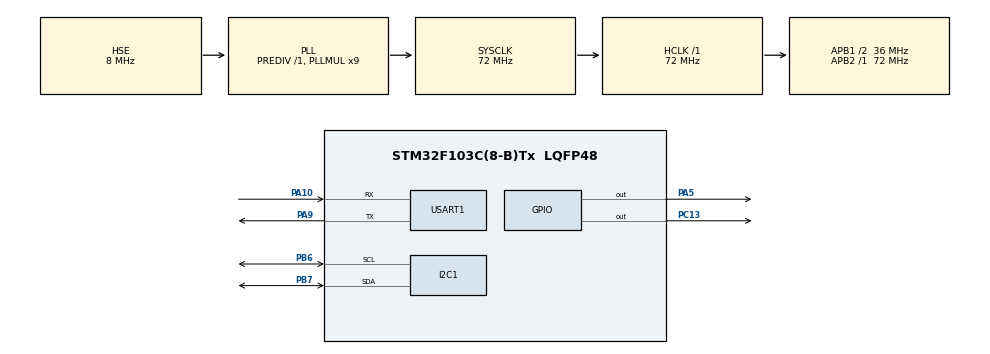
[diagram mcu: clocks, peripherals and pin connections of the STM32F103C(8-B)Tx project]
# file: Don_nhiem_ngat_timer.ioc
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Mcu.Family=STM32F1
Mcu.Name=STM32F103C(8-B)Tx
Mcu.Package=LQFP48
NVIC.PriorityGroup=NVIC_PRIORITYGROUP_4
NVIC.TIM1_UP_IRQn=true\:0\:0\:false\:false\:true\:true\:true\:true
NVIC.TIM3_IRQn=true\:0\:0\:false\:false\:true\:true\:true\:true
NVIC.TIM4_IRQn=true\:0\:0\:false\:false\:true\:true\:true\:true
NVIC.USART1_IRQn=true\:0\:0\:false\:false\:true\:true\:true\:true
PA10.Mode=Asynchronous
PA10.Signal=USART1_RX
PA13.Mode=Serial_Wire
PA13.Signal=SYS_JTMS-SWDIO
PA14.Mode=Serial_Wire
PA14.Signal=SYS_JTCK-SWCLK
PA5.Signal=GPIO_Output
PA9.Mode=Asynchronous
PA9.Signal=USART1_TX
PB6.Mode=I2C
PB6.Signal=I2C1_SCL
PB7.Mode=I2C
PB7.Signal=I2C1_SDA
PC13-TAMPER-RTC.Signal=GPIO_Output
PD0-OSC_IN.Mode=HSE-External-Oscillator
PD0-OSC_IN.Signal=RCC_OSC_IN
PD1-OSC_OUT.Mode=HSE-External-Oscillator
PD1-OSC_OUT.Signal=RCC_OSC_OUT
ProjectManager.HeapSize=0x200
ProjectManager.StackSize=0x400
ProjectManager.TargetToolchain=STM32CubeIDE
RCC.AHBFreq_Value=72000000
RCC.APB1CLKDivider=RCC_HCLK_DIV2
RCC.APB1Freq_Value=36000000
RCC.APB1TimFreq_Value=72000000
RCC.APB2Freq_Value=72000000
RCC.APB2TimFreq_Value=72000000
RCC.HCLKFreq_Value=72000000
RCC.PLLMUL=RCC_PLL_MUL9
RCC.PLLSourceVirtual=RCC_PLLSOURCE_HSE
RCC.SYSCLKFreq_VALUE=72000000
RCC.SYSCLKSource=RCC_SYSCLKSOURCE_PLLCLK
RCC.USBFreq_Value=72000000
TIM1.Period=29999
TIM1.Prescaler=7199
TIM2.Prescaler=71
TIM3.Period=9999
TIM3.Prescaler=7199
TIM4.Period=19999
TIM4.Prescaler=7199
USART1.VirtualMode=VM_ASYNC
VP_TIM1_VS_ClockSourceINT.Mode=Internal
VP_TIM2_VS_ClockSourceINT.Mode=Internal
VP_TIM3_VS_ClockSourceINT.Mode=Internal
VP_TIM4_VS_ClockSourceINT.Mode=Internal
board=custom

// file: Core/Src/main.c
/* USER CODE BEGIN Header */
/**
  ******************************************************************************
  * @file           : main.c
  * @brief          : Main program body
  ******************************************************************************
  * @attention
  *
  * Copyright (c) 2026 STMicroelectronics.
  * All rights reserved.
  *
  * This software is licensed under terms that can be found in the LICENSE file
  * in the root directory of this software component.
  * If no LICENSE file comes with this software, it is provided AS-IS.
  *
  ******************************************************************************
  */
/* USER CODE END Header */
#include "main.h"

/* USER CODE BEGIN Includes */
#include "dht11.h"
#include "i2c_LCD.h"
#include "time_delay.h"
#include <stdio.h>
#include <string.h>
/* USER CODE END Includes */

/* USER CODE BEGIN PTD */
typedef struct {
  // sensor
  uint8_t temp_c;
  uint8_t hum_pct;
  uint8_t valid; // valid=1 DHT11 đo OK, còn valid=0 DHT11 hư

  // config (có thể đổi qua UART)
  uint32_t period_ms;     // chu kì đo + gửi + update LCD
  uint8_t  th_temp;       // ngưỡng nhiệt độ
  uint8_t  th_hum;        // ngưỡng độ ẩm

  // status
  uint8_t alarm;          // 1: Cbao, 0: Bth

  // UART RX line (nhận theo dòng)
  uint8_t  rx_byte;
  char     rx_line[64];
  uint8_t  rx_len;
  volatile uint8_t line_ready; // 1: có 1 dòng lệnh hoàn chỉnh

} AppCtx;

typedef enum {
  EVENT_NONE = 0,
  EVENT_TASK_TEMP,  // Sự kiện đọc DHT11
  EVENT_TASK_LCD,   // Sự kiện cập nhật LCD
  EVENT_TASK_UART,  // Sự kiện gửi báo cáo UART
  EVENT_TASK_CMD    // Sự kiện xử lý lệnh từ UART RX
} EventID_t;

#define QUEUE_SIZE 15
EventID_t event_queue[QUEUE_SIZE];
int8_t head = 0, tail = 0, event_count = 0;

// Hàm đẩy sự kiện vào hàng đợi
void push_event(EventID_t id) {
  if (event_count < QUEUE_SIZE) {
    event_queue[tail] = id;
    tail = (tail + 1) % QUEUE_SIZE;
    event_count++;
  }
}

// Hàm lấy sự kiện ra khỏi hàng đợi
EventID_t pop_event(void) {
  if (event_count == 0) return EVENT_NONE;
  EventID_t id = event_queue[head];
  head = (head + 1) % QUEUE_SIZE;
  event_count--;
  return id;
}
/* USER CODE END PTD */

/* USER CODE BEGIN PD */
#define LED_PORT GPIOC
#define LED_PIN  GPIO_PIN_13
#define LED_ON()   HAL_GPIO_WritePin(LED_PORT, LED_PIN, GPIO_PIN_RESET)
#define LED_OFF()  HAL_GPIO_WritePin(LED_PORT, LED_PIN, GPIO_PIN_SET)
/* USER CODE END PD */

I2C_HandleTypeDef hi2c1;

TIM_HandleTypeDef htim1;
TIM_HandleTypeDef htim2;
TIM_HandleTypeDef htim3;
TIM_HandleTypeDef htim4;

UART_HandleTypeDef huart1;

/* USER CODE BEGIN PV */
LCD1602_I2C_t lcd;

DHT11_HandleTypeDef hdht11;
static AppCtx app;
/* USER CODE END PV */

void SystemClock_Config(void);
static void MX_GPIO_Init(void);
static void MX_I2C1_Init(void);
static void MX_TIM1_Init(void);
static void MX_TIM2_Init(void);
static void MX_TIM3_Init(void);
static void MX_TIM4_Init(void);
static void MX_USART1_UART_Init(void);

/* USER CODE BEGIN 0 */
//TASK1: đo DHT11 và lưu dữ liệu vào ctx
static void TASK_DHT11_Measure(AppCtx *ctx, DHT11_HandleTypeDef *dht)
{
  DHT11_Data_t raw;
  int err = DHT11_Read(dht, &raw);

  if (err == 0) {
    ctx->temp_c = raw.temperature_int;
    ctx->hum_pct = raw.humidity_int;
    ctx->valid = 1;
  } else {
    ctx->valid = 0;
  }
}

// Task2 kiểm tra ngưỡng + nháy LED 1 lần sau khi kiểm tra
static void TASK_CheckThreshold_BlinkOnce(AppCtx *ctx)
{
  // nếu lỗi cảm biến thì coi như cảnh báo
  if (!ctx->valid) {
    ctx->alarm = 1;
  } else {
	  // nháy 1 lần (non-blocking kiểu ngắn dùng HAL_Delay OK vì chỉ 1 nháy)
    ctx->alarm = (ctx->temp_c >= ctx->th_temp) || (ctx->hum_pct >= ctx->th_hum);
  }
  if(ctx->alarm){
	  LED_ON();
  } else {
	  LED_OFF();
  }

  // nháy 1 lần (non-blocking kiểu ngắn dùng HAL_Delay OK vì chỉ 1 nháy)
  //LED_ON();
  //HAL_Delay(100);
  //LED_OFF();
}

// Task3 LCD: dòng 1 = T/H, dòng 2 = chu kì + TT(Bth/Cbao)
static void TASK_LCD_Update(AppCtx *ctx, LCD1602_I2C_t *lcd)
{
  char l1[17], l2[17];

  if (ctx->valid) {
    snprintf(l1, sizeof(l1), "Tem:%2uC Hum:%2u%%", ctx->temp_c, ctx->hum_pct);
  } else {
    snprintf(l1, sizeof(l1), "Tem:--C Hum:--%%");
  }

  // hiển thị chu kì dạng giây hoặc ms cho gọn
  // ví dụ: "Cyc=2000 TT=Bth"
  snprintf(l2, sizeof(l2), "Trangthai: %s",
           ctx->alarm ? "Cbao" : "Bth");

  LCD1602_SetCursor(lcd, 0, 0);
  LCD1602_Print(lcd, l1);

  LCD1602_SetCursor(lcd, 1, 0);
  LCD1602_Print(lcd, "                ");

  LCD1602_SetCursor(lcd, 1, 0);
  LCD1602_Print(lcd, l2);
}

// Task4 UART TX: gửi nhiệt độ, ẩm, chu kì, ngưỡng, TT
static void TASK_UART_SendStatus(AppCtx *ctx, UART_HandleTypeDef *huart)
{
  char tx[128];
  int n;
 //Lấy thời điểm hiện tại để kiểm tra độ chính xác của lập lịch
  uint32_t current_time = HAL_GetTick();

  if (ctx->valid) {
    n = snprintf(tx, sizeof(tx),
      "[%lu ms] T=%u H=%u Tth=%u Hth=%u Status=%s\r\n",
	  current_time,
      ctx->temp_c, ctx->hum_pct,
      ctx->th_temp, ctx->th_hum,
      ctx->alarm ? "Cbao" : "Bth"
    );
  } else {
    n = snprintf(tx, sizeof(tx),
      "[%lu ms] DHT11_ERROR Tth=%u Hth=%u Status=%s\r\n",
	  current_time,
      ctx->th_temp, ctx->th_hum,
      ctx->alarm ? "Cbao" : "Bth"
    );
  }

  HAL_UART_Transmit(huart, (uint8_t*)tx, (uint16_t)n, 100);
}

// Task5 UART RX: parse line để cập nhật chu kì và ngưỡng
// Nhận các token: P=..., T=..., H=...
static void TASK_UART_ParseLine(AppCtx *ctx, UART_HandleTypeDef *huart)
{
  if (!ctx->line_ready) return;
  ctx->line_ready = 0;

  // copy ra buffer tạm để strtok
  char buf[64];
  strncpy(buf, ctx->rx_line, sizeof(buf));
  buf[sizeof(buf)-1] = 0;

  // tách theo space hoặc comma
  char *tok = strtok(buf, " ,");
  uint8_t updated = 0;

  while (tok) {
    if (tok[0] == 'P' || tok[0] == 'p') {
      uint32_t p = 0;
      if (sscanf(tok, "P=%lu", &p) == 1 || sscanf(tok, "p=%lu", &p) == 1 ) {
    	  __HAL_TIM_SET_AUTORELOAD(&htim1, p - 1);
    	          // Reset counter để áp dụng ngay lập tức
    	          __HAL_TIM_SET_COUNTER(&htim1, 0);
        updated = 1;
      }
    } else if (tok[0] == 'T' || tok[0] == 't') {
      unsigned t = 0;
      if (sscanf(tok, "T=%u", &t) == 1 || sscanf(tok, "t=%u", &t) == 1 ) {
        if (t <= 99) { ctx->th_temp = (uint8_t)t; updated = 1; }
      }
    } else if (tok[0] == 'H' || tok[0] == 'h') {
      unsigned h = 0;
      if (sscanf(tok, "H=%u", &h) == 1 || sscanf(tok, "h=%u", &h) == 1 ) {
        if (h <= 99) { ctx->th_hum = (uint8_t)h; updated = 1; }
      }
    }

    tok = strtok(NULL, " ,");
  }

  // phản hồi lại cấu hình hiện tại
  if (updated) {
    char ack[80];
    int n = snprintf(ack, sizeof(ack), "OK P=%lu Tth=%u Hth=%u\r\n",
                     (unsigned long)ctx->period_ms, ctx->th_temp, ctx->th_hum);
    HAL_UART_Transmit(huart, (uint8_t*)ack, (uint16_t)n, 100);
  } else {
    const char *msg = "FORMAT: P=2000 T=20 H=50\r\n";
    HAL_UART_Transmit(huart, (uint8_t*)msg, (uint16_t)strlen(msg), 100);
  }
}
/* USER CODE END 0 */

int main(void)
{

  /* MCU Configuration--------------------------------------------------------*/

  /* Reset of all peripherals, Initializes the Flash interface and the Systick. */
  HAL_Init();

  /* Configure the system clock */
  SystemClock_Config();

  /* Initialize all configured peripherals */
  MX_GPIO_Init();
  MX_I2C1_Init();
  MX_TIM1_Init();
  MX_TIM2_Init();
  MX_TIM3_Init();
  MX_TIM4_Init();
  MX_USART1_UART_Init();
  /* USER CODE BEGIN 2 */
  HAL_TIM_Base_Start(&htim2);
    TIM2_Delay_Init(&htim2);   // nếu time_delay của bạn dùng TIM2 thì cứ giữ
  // init dht11

    // Khởi chạy ngắt cho các timer tạo sự kiện định kỳ
      HAL_TIM_Base_Start_IT(&htim1); // Cho UART TX
      HAL_TIM_Base_Start_IT(&htim3); // Cho DHT11
      HAL_TIM_Base_Start_IT(&htim4); // Cho LCD

    hdht11.GPIOx = GPIOA;
    hdht11.GPIO_Pin = GPIO_PIN_5;
    hdht11.htim = &htim2;
    DHT11_Init(&hdht11);

    // LCD address: 0x27 hoặc 0x3F
    LCD1602_Init(&lcd, &hi2c1, 0x27);
    LCD1602_Clear(&lcd);
    LCD1602_SetCursor(&lcd, 0, 0);
    LCD1602_Print(&lcd, "DHT11 + LCD");
    HAL_Delay(1000);
    LCD1602_Clear(&lcd);

    // app default
    memset(&app, 0, sizeof(app));
    app.period_ms = 4000;  // chu kì mặc định
    app.th_temp   = 29;    // ngưỡng mặc định
    app.th_hum    = 70;    // ngưỡng mặc định
    app.alarm     = 0;
    LED_OFF();

    // start UART RX interrupt (1 byte)
    HAL_UART_Receive_IT(&huart1, &app.rx_byte, 1);
  /* USER CODE END 2 */

  /* Infinite loop */
  /* USER CODE BEGIN WHILE */
  while (1)
  {
	  EventID_t active_event = pop_event(); // Kiểm tra hàng đợi

	      if (active_event != EVENT_NONE) {
	        // Thực thi nhiệm vụ không ưu tiên (Non-preemptive)
	        switch (active_event) {
	          case EVENT_TASK_TEMP:
	            TASK_DHT11_Measure(&app, &hdht11);
	            TASK_CheckThreshold_BlinkOnce(&app);
	            break;
	          case EVENT_TASK_LCD:
	            TASK_LCD_Update(&app, &lcd);
	            break;
	          case EVENT_TASK_UART:
	            TASK_UART_SendStatus(&app, &huart1);
	            break;
	          case EVENT_TASK_CMD:
	            app.line_ready = 1; // Đánh dấu để hàm parse nhận diện
	            TASK_UART_ParseLine(&app, &huart1);
	            break;
	          default: break;
	        }
	      } else {
	        __NOP();
	      }
    /* USER CODE END WHILE */

  }
}

void SystemClock_Config(void)
{
  RCC_OscInitTypeDef RCC_OscInitStruct = {0};
  RCC_ClkInitTypeDef RCC_ClkInitStruct = {0};

  /** Initializes the RCC Oscillators according to the specified parameters
  * in the RCC_OscInitTypeDef structure.
  */
  RCC_OscInitStruct.OscillatorType = RCC_OSCILLATORTYPE_HSE;
  RCC_OscInitStruct.HSEState = RCC_HSE_ON;
  RCC_OscInitStruct.HSEPredivValue = RCC_HSE_PREDIV_DIV1;
  RCC_OscInitStruct.HSIState = RCC_HSI_ON;
  RCC_OscInitStruct.PLL.PLLState = RCC_PLL_ON;
  RCC_OscInitStruct.PLL.PLLSource = RCC_PLLSOURCE_HSE;
  RCC_OscInitStruct.PLL.PLLMUL = RCC_PLL_MUL9;
  if (HAL_RCC_OscConfig(&RCC_OscInitStruct) != HAL_OK)
  {
    Error_Handler();
  }

  /** Initializes the CPU, AHB and APB buses clocks
  */
  RCC_ClkInitStruct.ClockType = RCC_CLOCKTYPE_HCLK|RCC_CLOCKTYPE_SYSCLK
                              |RCC_CLOCKTYPE_PCLK1|RCC_CLOCKTYPE_PCLK2;
  RCC_ClkInitStruct.SYSCLKSource = RCC_SYSCLKSOURCE_PLLCLK;
  RCC_ClkInitStruct.AHBCLKDivider = RCC_SYSCLK_DIV1;
  RCC_ClkInitStruct.APB1CLKDivider = RCC_HCLK_DIV2;
  RCC_ClkInitStruct.APB2CLKDivider = RCC_HCLK_DIV1;

  if (HAL_RCC_ClockConfig(&RCC_ClkInitStruct, FLASH_LATENCY_2) != HAL_OK)
  {
    Error_Handler();
  }
}

static void MX_I2C1_Init(void)
{

  hi2c1.Instance = I2C1;
  hi2c1.Init.ClockSpeed = 100000;
  hi2c1.Init.DutyCycle = I2C_DUTYCYCLE_2;
  hi2c1.Init.OwnAddress1 = 0;
  hi2c1.Init.AddressingMode = I2C_ADDRESSINGMODE_7BIT;
  hi2c1.Init.DualAddressMode = I2C_DUALADDRESS_DISABLE;
  hi2c1.Init.OwnAddress2 = 0;
  hi2c1.Init.GeneralCallMode = I2C_GENERALCALL_DISABLE;
  hi2c1.Init.NoStretchMode = I2C_NOSTRETCH_DISABLE;
  if (HAL_I2C_Init(&hi2c1) != HAL_OK)
  {
    Error_Handler();
  }

}

static void MX_TIM1_Init(void)
{

  TIM_ClockConfigTypeDef sClockSourceConfig = {0};
  TIM_MasterConfigTypeDef sMasterConfig = {0};

  htim1.Instance = TIM1;
  htim1.Init.Prescaler = 7199;
  htim1.Init.CounterMode = TIM_COUNTERMODE_UP;
  htim1.Init.Period = 29999;
  htim1.Init.ClockDivision = TIM_CLOCKDIVISION_DIV1;
  htim1.Init.RepetitionCounter = 0;
  htim1.Init.AutoReloadPreload = TIM_AUTORELOAD_PRELOAD_DISABLE;
  if (HAL_TIM_Base_Init(&htim1) != HAL_OK)
  {
    Error_Handler();
  }
  sClockSourceConfig.ClockSource = TIM_CLOCKSOURCE_INTERNAL;
  if (HAL_TIM_ConfigClockSource(&htim1, &sClockSourceConfig) != HAL_OK)
  {
    Error_Handler();
  }
  sMasterConfig.MasterOutputTrigger = TIM_TRGO_RESET;
  sMasterConfig.MasterSlaveMode = TIM_MASTERSLAVEMODE_DISABLE;
  if (HAL_TIMEx_MasterConfigSynchronization(&htim1, &sMasterConfig) != HAL_OK)
  {
    Error_Handler();
  }

}

static void MX_TIM2_Init(void)
{

  TIM_ClockConfigTypeDef sClockSourceConfig = {0};
  TIM_MasterConfigTypeDef sMasterConfig = {0};

  htim2.Instance = TIM2;
  htim2.Init.Prescaler = 71;
  htim2.Init.CounterMode = TIM_COUNTERMODE_UP;
  htim2.Init.Period = 65535;
  htim2.Init.ClockDivision = TIM_CLOCKDIVISION_DIV1;
  htim2.Init.AutoReloadPreload = TIM_AUTORELOAD_PRELOAD_DISABLE;
  if (HAL_TIM_Base_Init(&htim2) != HAL_OK)
  {
    Error_Handler();
  }
  sClockSourceConfig.ClockSource = TIM_CLOCKSOURCE_INTERNAL;
  if (HAL_TIM_ConfigClockSource(&htim2, &sClockSourceConfig) != HAL_OK)
  {
    Error_Handler();
  }
  sMasterConfig.MasterOutputTrigger = TIM_TRGO_RESET;
  sMasterConfig.MasterSlaveMode = TIM_MASTERSLAVEMODE_DISABLE;
  if (HAL_TIMEx_MasterConfigSynchronization(&htim2, &sMasterConfig) != HAL_OK)
  {
    Error_Handler();
  }

}

static void MX_TIM3_Init(void)
{

  TIM_ClockConfigTypeDef sClockSourceConfig = {0};
  TIM_MasterConfigTypeDef sMasterConfig = {0};

  htim3.Instance = TIM3;
  htim3.Init.Prescaler = 7199;
  htim3.Init.CounterMode = TIM_COUNTERMODE_UP;
  htim3.Init.Period = 9999;
  htim3.Init.ClockDivision = TIM_CLOCKDIVISION_DIV1;
  htim3.Init.AutoReloadPreload = TIM_AUTORELOAD_PRELOAD_DISABLE;
  if (HAL_TIM_Base_Init(&htim3) != HAL_OK)
  {
    Error_Handler();
  }
  sClockSourceConfig.ClockSource = TIM_CLOCKSOURCE_INTERNAL;
  if (HAL_TIM_ConfigClockSource(&htim3, &sClockSourceConfig) != HAL_OK)
  {
    Error_Handler();
  }
  sMasterConfig.MasterOutputTrigger = TIM_TRGO_RESET;
  sMasterConfig.MasterSlaveMode = TIM_MASTERSLAVEMODE_DISABLE;
  if (HAL_TIMEx_MasterConfigSynchronization(&htim3, &sMasterConfig) != HAL_OK)
  {
    Error_Handler();
  }

}

static void MX_TIM4_Init(void)
{

  TIM_ClockConfigTypeDef sClockSourceConfig = {0};
  TIM_MasterConfigTypeDef sMasterConfig = {0};

  htim4.Instance = TIM4;
  htim4.Init.Prescaler = 7199;
  htim4.Init.CounterMode = TIM_COUNTERMODE_UP;
  htim4.Init.Period = 19999;
  htim4.Init.ClockDivision = TIM_CLOCKDIVISION_DIV1;
  htim4.Init.AutoReloadPreload = TIM_AUTORELOAD_PRELOAD_DISABLE;
  if (HAL_TIM_Base_Init(&htim4) != HAL_OK)
  {
    Error_Handler();
  }
  sClockSourceConfig.ClockSource = TIM_CLOCKSOURCE_INTERNAL;
  if (HAL_TIM_ConfigClockSource(&htim4, &sClockSourceConfig) != HAL_OK)
  {
    Error_Handler();
  }
  sMasterConfig.MasterOutputTrigger = TIM_TRGO_RESET;
  sMasterConfig.MasterSlaveMode = TIM_MASTERSLAVEMODE_DISABLE;
  if (HAL_TIMEx_MasterConfigSynchronization(&htim4, &sMasterConfig) != HAL_OK)
  {
    Error_Handler();
  }

}

static void MX_USART1_UART_Init(void)
{

  huart1.Instance = USART1;
  huart1.Init.BaudRate = 115200;
  huart1.Init.WordLength = UART_WORDLENGTH_8B;
  huart1.Init.StopBits = UART_STOPBITS_1;
  huart1.Init.Parity = UART_PARITY_NONE;
  huart1.Init.Mode = UART_MODE_TX_RX;
  huart1.Init.HwFlowCtl = UART_HWCONTROL_NONE;
  huart1.Init.OverSampling = UART_OVERSAMPLING_16;
  if (HAL_UART_Init(&huart1) != HAL_OK)
  {
    Error_Handler();
  }

}

static void MX_GPIO_Init(void)
{
  GPIO_InitTypeDef GPIO_InitStruct = {0};

  /* GPIO Ports Clock Enable */
  __HAL_RCC_GPIOC_CLK_ENABLE();
  __HAL_RCC_GPIOD_CLK_ENABLE();
  __HAL_RCC_GPIOA_CLK_ENABLE();
  __HAL_RCC_GPIOB_CLK_ENABLE();

  /*Configure GPIO pin Output Level */
  HAL_GPIO_WritePin(GPIOC, GPIO_PIN_13, GPIO_PIN_RESET);

  /*Configure GPIO pin Output Level */
  HAL_GPIO_WritePin(GPIOA, GPIO_PIN_5, GPIO_PIN_RESET);

  /*Configure GPIO pin : PC13 */
  GPIO_InitStruct.Pin = GPIO_PIN_13;
  GPIO_InitStruct.Mode = GPIO_MODE_OUTPUT_PP;
  GPIO_InitStruct.Pull = GPIO_NOPULL;
  GPIO_InitStruct.Speed = GPIO_SPEED_FREQ_LOW;
  HAL_GPIO_Init(GPIOC, &GPIO_InitStruct);

  /*Configure GPIO pin : PA5 */
  GPIO_InitStruct.Pin = GPIO_PIN_5;
  GPIO_InitStruct.Mode = GPIO_MODE_OUTPUT_PP;
  GPIO_InitStruct.Pull = GPIO_NOPULL;
  GPIO_InitStruct.Speed = GPIO_SPEED_FREQ_LOW;
  HAL_GPIO_Init(GPIOA, &GPIO_InitStruct);

}

/* USER CODE BEGIN 4 */
void HAL_TIM_PeriodElapsedCallback(TIM_HandleTypeDef *htim) {
  if (htim->Instance == TIM3) push_event(EVENT_TASK_TEMP);
  if (htim->Instance == TIM4) push_event(EVENT_TASK_LCD);
  if (htim->Instance == TIM1) push_event(EVENT_TASK_UART);
}

void HAL_UART_RxCpltCallback(UART_HandleTypeDef *huart)
{
  if (huart->Instance == USART1) {

    char c = (char)app.rx_byte;

    // kết thúc dòng
    if (c == '\n' || c == '\r' || c == ';') {
      if (app.rx_len > 0) {
        app.rx_line[app.rx_len] = 0;
        app.rx_len = 0;
        push_event(EVENT_TASK_CMD); // Đẩy sự kiện xử lý lệnh
        app.line_ready = 1;
      }
    } else {
      // tích lũy ký tự
      if (app.rx_len < (sizeof(app.rx_line) - 1)) {
        app.rx_line[app.rx_len++] = c;
      } else {
        // overflow -> reset
        app.rx_len = 0;
      }
    }

    // nhận tiếp byte sau
    HAL_UART_Receive_IT(&huart1, &app.rx_byte, 1);
  }
}

/* USER CODE END 4 */

void Error_Handler(void)
{
  __disable_irq();
  while (1)
  {
  }
}
